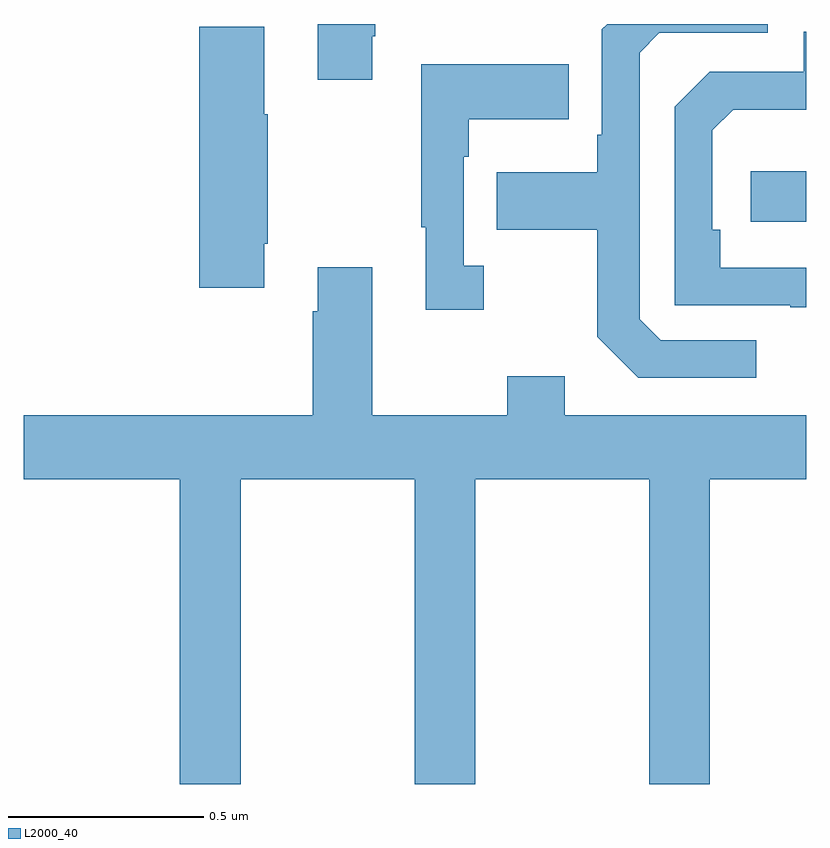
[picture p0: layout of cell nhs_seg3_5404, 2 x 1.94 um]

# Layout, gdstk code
import gdstk
lib = gdstk.Library(unit=1e-6, precision=1e-09)
def R(c, l, rs):  # rectangles x0, y0, x1, y1
    for r in rs: c.add(gdstk.rectangle(r[:2], r[2:], *l))
def P(c, l, *ps):  # polygons
    for p in ps: c.add(gdstk.Polygon(p, *l))
L2000_40 = (2000, 40)

nhs_seg3_5404 = lib.new_cell('nhs_seg3_5404')
R(nhs_seg3_5404, L2000_40, [(179.859,714.894,180,715.024)])
P(nhs_seg3_5404, L2000_40, [(178.891,715.369),(178.899,715.369),(178.899,715.4),(178.751,715.4),(178.751,715.257),(178.891,715.257)],
  [(179.872,714.591),(179.628,714.591),(179.574,714.645),(179.574,715.326),(179.625,715.377),(179.902,715.377),(179.902,715.4),(179.492,715.4),(179.478,715.386),(179.478,715.117),(179.466,715.117),(179.466,715.021),(179.209,715.021),(179.209,714.874),(179.466,714.874),(179.466,714.601),(179.571,714.495),(179.872,714.495)],
  [(178.615,714.838),(178.623,714.838),(178.623,715.169),(178.615,715.169),(178.615,715.393),(178.448,715.393),(178.448,714.726),(178.615,714.726)],
  [(180,714.777),(179.78,714.777),(179.78,714.874),(179.76,714.874),(179.76,715.128),(179.813,715.181),(180,715.181),(180,715.38),(179.994,715.38),(179.994,715.278),(179.754,715.278),(179.664,715.188),(179.664,714.681),(179.959,714.681),(179.959,714.676),(180,714.676)],
  [(179.176,714.782),(179.124,714.782),(179.124,715.061),(179.137,715.061),(179.137,715.157),(179.393,715.157),(179.393,715.297),(179.016,715.297),(179.016,714.881),(179.027,714.881),(179.027,714.669),(179.176,714.669)],
  [(178.554,714.236),(178.999,714.236),(178.999,713.457),(179.154,713.457),(179.154,714.236),(179.599,714.236),(179.599,713.457),(179.754,713.457),(179.754,714.236),(180,714.236),(180,714.4),(179.383,714.4),(179.383,714.499),(179.236,714.499),(179.236,714.4),(178.891,714.4),(178.891,714.778),(178.751,714.778),(178.751,714.665),(178.739,714.665),(178.739,714.4),(178,714.4),(178,714.236),(178.399,714.236),(178.399,713.457),(178.554,713.457)])

lib.write_gds('nhs_seg3_5404.gds')
